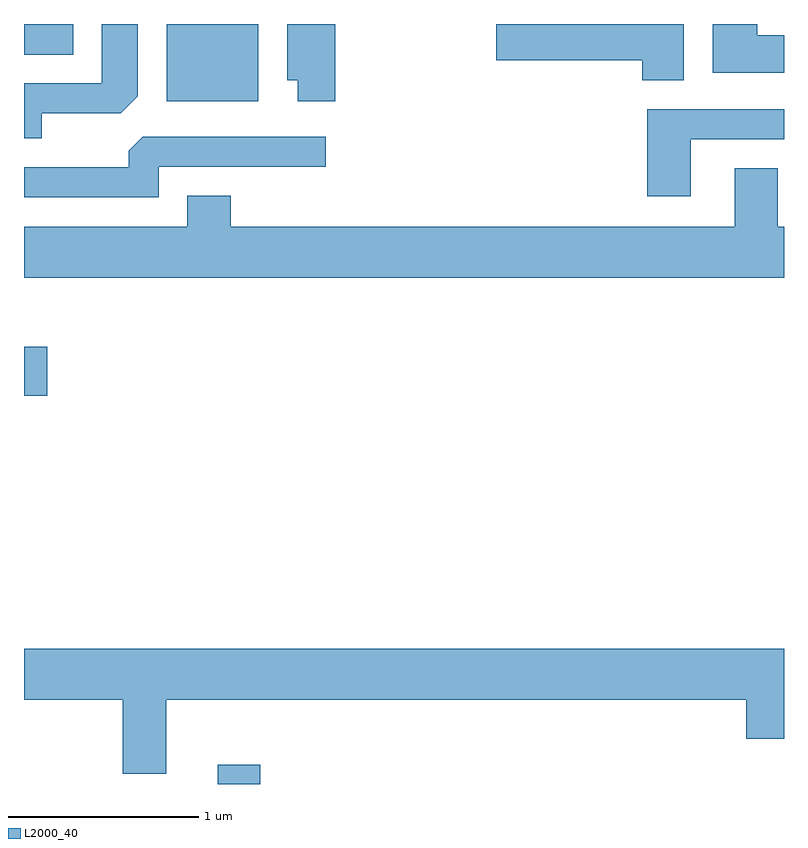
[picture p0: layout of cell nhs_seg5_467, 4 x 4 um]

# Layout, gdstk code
import gdstk
lib = gdstk.Library(unit=1e-6, precision=1e-09)
def R(c, l, rs):  # rectangles x0, y0, x1, y1
    for r in rs: c.add(gdstk.rectangle(r[:2], r[2:], *l))
def P(c, l, *ps):  # polygons
    for p in ps: c.add(gdstk.Polygon(p, *l))
L2000_40 = (2000, 40)

nhs_seg5_467 = lib.new_cell('nhs_seg5_467')
R(nhs_seg5_467, L2000_40, [(198.631,1514.072,198.854,1514.174), (197.611,1516.116,197.734,1516.374), (198.361,1517.666,198.844,1518.072), (197.611,1517.911,197.869,1518.072)])
P(nhs_seg5_467, L2000_40, [(197.704,1517.601),(198.119,1517.601),(198.209,1517.692),(198.209,1518.072),(198.021,1518.072),(198.021,1517.759),(197.611,1517.759),(197.611,1517.471),(197.704,1517.471)],
  [(199.249,1518.072),(198.996,1518.072),(198.996,1517.776),(199.051,1517.776),(199.051,1517.666),(199.249,1517.666)],
  [(201.084,1518.072),(200.096,1518.072),(200.096,1517.881),(200.866,1517.881),(200.866,1517.776),(201.084,1517.776)],
  [(201.611,1518.014),(201.469,1518.014),(201.469,1518.072),(201.236,1518.072),(201.236,1517.816),(201.611,1517.816)],
  [(201.119,1517.466),(201.611,1517.466),(201.611,1517.624),(200.891,1517.624),(200.891,1517.166),(201.119,1517.166)],
  [(198.319,1517.321),(199.198,1517.321),(199.198,1517.479),(198.237,1517.479),(198.161,1517.404),(198.161,1517.319),(197.611,1517.319),(197.611,1517.161),(198.319,1517.161)],
  [(201.611,1517.004),(201.579,1517.004),(201.579,1517.314),(201.351,1517.314),(201.351,1517.004),(198.699,1517.004),(198.699,1517.169),(198.471,1517.169),(198.471,1517.004),(197.611,1517.004),(197.611,1516.736),(201.611,1516.736)],
  [(198.359,1514.516),(201.411,1514.516),(201.411,1514.311),(201.611,1514.311),(201.611,1514.784),(197.611,1514.784),(197.611,1514.516),(198.131,1514.516),(198.131,1514.126),(198.359,1514.126)])

lib.write_gds('nhs_seg5_467.gds')
